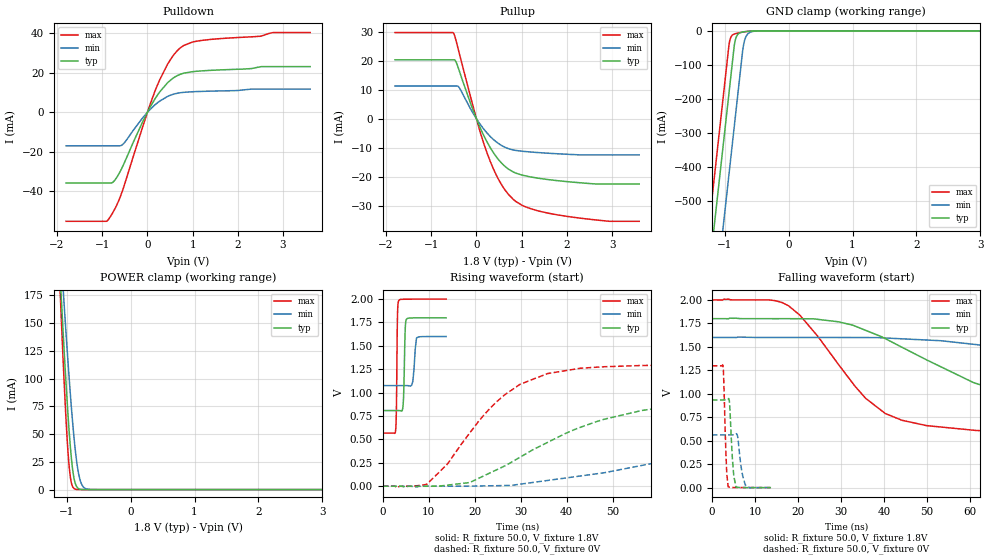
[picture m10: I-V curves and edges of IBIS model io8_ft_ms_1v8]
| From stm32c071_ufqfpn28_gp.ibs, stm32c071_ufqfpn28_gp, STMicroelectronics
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[Model]   io8_ft_ms_1v8
Model_type I/O
Polarity   Non-Inverting
Enable   Active-Low
| CAP_THRESHOLD on pad IOFT is "UDTCAPC" :
| Rising=30.0% of vddiom   Falling=70.0% of vddiom
| C_comp min and max val. don't necessarily correlate with the min and max pvt
| but are the smallest and greatest pad capacitance found.
| var   typ   min   max
C_comp   1.87978pF  1.84950pF  1.93332pF
|C_comp_pullup   1.00313pF  1.07940pF  1.05575pF
|C_comp_pulldown   876.64719fF  770.10368fF  877.57044fF
Vinl = 800.0mV
Vinh = 1.0V
Vmeas = 900.0mV   | Reference voltage for timing measurements
Cref  = 50.0pF   | Timing specification test load capacitance value
Rref  = 1.0MOhm   | Timing specification test load resistance value
Vref  = 990.0mV   | Timing specification test load voltage
[Model Spec]
| TIME_THRESHOLD on pin ZIV12 is "CMOS" :
| Rising=50.0% of vdd   Falling=50.0% of vdd
Vinl 728.70000mV 652.70000mV 817.70000mV
Vinh 1.06430V 953.30000mV 1.16330V
| variable   typ   min   max
[Temperature Range] 25.0 125.0 -40.0
| variable   typ   min   max
[Voltage Range] 1.8V 1.6V 2.0V
| variable   typ   min   max
[POWER Clamp Reference] 1.8V 1.6V 2.0V
| variable   typ   min   max
[GND Clamp Reference] 0V 0V 0V
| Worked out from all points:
|   slope of the pulldown table from 0 to 0.27 V, typ, clamps not added: 26.3 ohm
|   slope of the pullup table from 0 to 0.27 V, typ, clamps not added: 30 ohm
|   GND clamp passes 1 mA (typ) near -0.61 V on its own axis
|   POWER clamp passes 1 mA (typ) near -0.81 V on its own axis
|   rising waveform, R_fixture 50.0, V_fixture 1.8V: 20-80 % time 278ps typ, 470ps min, 187ps max; typ from 0.809 V to 1.8 V
|   falling waveform, R_fixture 50.0, V_fixture 1.8V: 20-80 % time 29.9ns typ, 55ns min, 15.7ns max; typ from 1.8 V to 0.809 V
|   rising waveform, R_fixture 50.0, V_fixture 0V: 20-80 % time 25.7ns typ, 46.8ns min, 14ns max; typ from 0 V to 0.934 V
|   falling waveform, R_fixture 50.0, V_fixture 0V: 20-80 % time 694ps typ, 1.01ns min, 533ps max; typ from 0.935 V to 0 V
[POWER Clamp]
-1.8V     1.053A     933.5mA    1.262A
-1.1V     191.1mA    222.7mA    177.1mA
-1.08V    169mA      204.2mA    149.9mA
-1.05V    136.9mA    176.9mA    110.9mA
-1.01V    96.55mA    141.6mA    64.02mA
-980mV    68.91mA    116.4mA    35.23mA
-940mV    37.57mA    84.83mA    10.65mA
-880mV    8.969mA    44.34mA    807.4uA
-830mV    1.697mA    20.19mA    75.79uA
-790mV    394.2uA    8.787mA    11.25uA
-670mV    4.467uA    374.2uA    36.56nA
3.6V      0A         0A         0A
[GND Clamp]
-1.8V     -1.658A    -1.897A    -1.517A
-1.24V    -706mA     -945.3mA   -564.6mA
-1.05V    -383mA     -622.3mA   -241.6mA
-930mV    -179mA     -418.3mA   -38.91mA
-910mV    -145mA     -384.3mA   -22.02mA
-870mV    -77.01mA   -316.3mA   -11.35mA
-850mV    -44.09mA   -282.3mA   -9.519mA
-820mV    -19mA      -231.3mA   -7.801mA
-710mV    -3.257mA   -47.82mA   -3.606mA
-660mV    -1.938mA   -14.77mA   -2.175mA
-590mV    -790.4uA   -3.415mA   -786.7uA
3.6V      506.8pA    48.18nA    364.4pA
| variable   typ   min   max
[Pullup Reference] 1.8V 1.6V 2.0V
| variable   typ   min   max
[Pulldown Reference] 0V 0V 0V
[Pullup]
-1.8V     20.32mA    11.29mA    29.71mA
-510mV    20.32mA    11.29mA    29.58mA
-460mV    19.84mA    11.29mA    27.45mA
-380mV    16.54mA    10.7mA     22.62mA
30mV      -1.154mA   -713.3uA   -1.7mA
250mV     -8.43mA    -5.178mA   -12.43mA
540mV     -15mA      -9.056mA   -22.31mA
870mV     -18.72mA   -10.91mA   -28.48mA
1.18V     -19.99mA   -11.43mA   -30.89mA
1.8V      -21.34mA   -12.07mA   -33.14mA
2.94V     -22.49mA   -12.46mA   -35.33mA
3.6V      -22.49mA   -12.46mA   -35.33mA
[Pulldown]
-1.8V     -35.76mA   -16.97mA   -55.17mA
-910mV    -35.76mA   -16.97mA   -55.17mA
-830mV    -35.76mA   -16.97mA   -53.18mA
-720mV    -34.31mA   -16.97mA   -48.86mA
-540mV    -27.04mA   -16.13mA   -38.89mA
-120mV    -5.569mA   -3.236mA   -8.457mA
230mV     8.974mA    4.965mA    14.24mA
520mV     16.45mA    8.736mA    27.07mA
750mV     19.43mA    9.977mA    33.01mA
1.37V     21.21mA    10.7mA     36.84mA
2.78V     23.13mA    11.74mA    40.36mA
3.6V      23.13mA    11.74mA    40.37mA
[Ramp]
dV/dt_r 560.66484mV/25.26109ns 336.87536mV/46.84855ns 778.49155mV/13.95387ns
dV/dt_f 594.77908mV/29.85332ns 314.89705mV/54.96537ns 859.14465mV/15.72857ns
R_load = 50.0
| Removed startup time: 0s 0s 0s  .
| Removed end time: 13.75ns.
[Rising Waveform]
R_fixture   = 50.0
V_fixture   = 1.8V
V_fixture_min = 1.6V
V_fixture_max = 2.0V
0s        808.6mV    1.076V     568.1mV
2.75ns    808.6mV    1.076V     585mV
2.95ns    808.6mV    1.076V     831.4mV
3.2ns     808.6mV    1.076V     1.858V
3.45ns    808.7mV    1.076V     1.983V
4.4ns     866.4mV    1.076V     1.998V
5.1ns     1.782V     1.076V     1.999V
6.5ns     1.799V     1.119V     1.999V
7.35ns    1.799V     1.586V     1.999V
13.75ns   1.8V       1.6V       1.999V
| Removed startup time: 0s 0s 0s  .
| Removed end time: 549.775ns.
[Falling Waveform]
R_fixture   = 50.0
V_fixture   = 1.8V
V_fixture_min = 1.6V
V_fixture_max = 2.0V
0s        1.8V       1.6V       2V
16.32ns   1.8V       1.6V       1.972V
20.48ns   1.799V     1.6V       1.836V
29.4ns    1.767V     1.6V       1.313V
35.75ns   1.675V     1.599V     950.7mV
40.33ns   1.587V     1.594V     788.6mV
61.65ns   1.106V     1.523V     608.5mV
86.83ns   894.6mV    1.34V      577.6mV
146.2ns   817.4mV    1.125V     568mV
549.8ns   808.7mV    1.075V     568.1mV
| Removed startup time: 0s 0s 0s  .
| Removed end time: 549.75ns.
[Rising Waveform]
R_fixture   = 50.0
V_fixture   = 0V
V_fixture_min = 0V
V_fixture_max = 0V
0s        36.63nV    88.68nV    43.77nV
9.55ns    -211.2uV   -101.4uV   20.43mV
18.9ns    39.77mV    983.5uV    569.3mV
23.85ns   155mV      5.13mV     859.3mV
29.85ns   310.7mV    21.77mV    1.089V
35.8ns    468mV      61.59mV    1.204V
48.2ns    716.9mV    144.6mV    1.277V
74.2ns    901mV      367.1mV    1.297V
134.6ns   934.8mV    544.8mV    1.298V
549.8ns   934.4mV    561.5mV    1.297V
| Removed startup time: 0s 0s 0s  .
| Removed end time: 13.75ns.
[Falling Waveform]
R_fixture   = 50.0
V_fixture   = 0V
V_fixture_min = 0V
V_fixture_max = 0V
0s        934.6mV    561.6mV    1.298V
2.6ns     934.6mV    561.6mV    1.297V
3.45ns    934.3mV    561.6mV    164.2mV
3.8ns     941.5mV    561.6mV    8.356mV
4.15ns    870.2mV    561.6mV    3.644mV
4.7ns     362mV      561.6mV    1.521mV
5.05ns    146.9mV    561.2mV    1.228mV
5.65ns    3.446mV    572mV      879.9uV
7.75ns    486.4uV    30.39mV    485.8uV
13.75ns   262.1uV    -481.4uV   344.5uV
